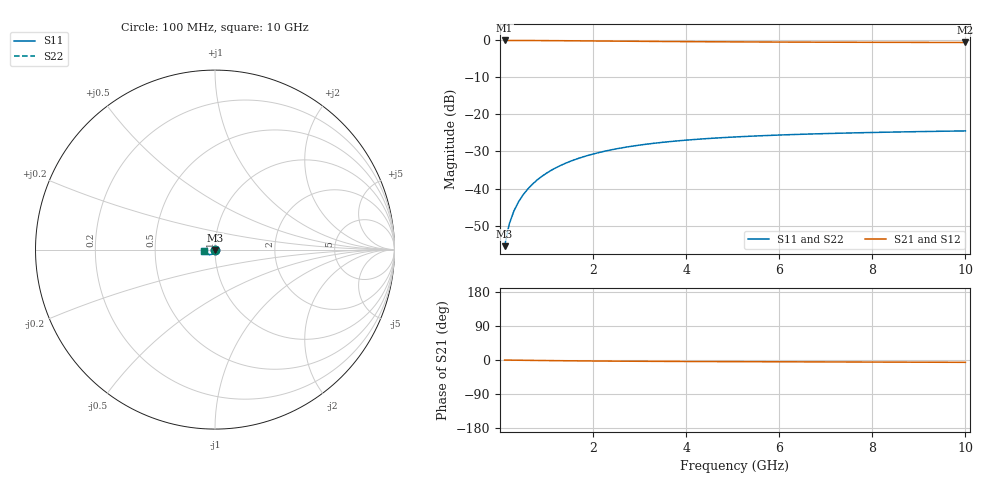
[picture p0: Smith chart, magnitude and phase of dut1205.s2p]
! Touchstone file exported from HFSS 2024.1.0
!  File:  C:/UserFiles/LocalFiles/RDL_TSV_Batchsim/temp_TSV1_1205_1780247844.aedt
!  Generated:  01:23:14 AM Jun  1, 2026
!  Design:  TSV1
!  Project:  temp_TSV1_1205_1780247844
!  Setup:  Setup1
!  Solution:  Sweep
! Variables:
!  dtsv = 11.12um
!  hbump = 3um
!  htsv = 98.03um
!  lrdl = 252.1521522um
!  p = 40
!  p1 = 49.58um
!  t = 500um
!  trdl = 3um
!  wrdl = 24.89489489um
# GHz S MA R 50.000000
! Terminal data exported
! Port[1] = TSV22_T1
! Port[2] = TSV22_T2
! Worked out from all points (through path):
!   100 points, 100 MHz to 10 GHz, reference 50 ohm
!   highest |S21| = 0.00 dB at 100 MHz (marker M1); lowest = -0.5 dB at 10 GHz (marker M2)
!   lowest |S11| = -55.6 dB at 100 MHz (marker M3), VSWR 1.00, Z = 50 - j0.166 ohm
!   |S11| at or under -10 dB: start of sweep to end of sweep
!   |S22| runs from -55.6 to -24.4 dB; largest |S21 - S12| = 9.3e-15
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0.1  0.001664 -87.1  0.9998 -0.2  0.9998 -0.2  0.001664 -87.1
! Gamma 0 0 0 0
! Port Impedance 50 0 50 0
0.2  0.003319 -91.0  0.9996 -0.3  0.9996 -0.3  0.003319 -91.0
0.3  0.004974 -93.4  0.9994 -0.5  0.9994 -0.5  0.004974 -93.4
0.4  0.006622 -95.5  0.999 -0.6  0.999 -0.6  0.006622 -95.5
0.5  0.008259 -97.5  0.9985 -0.8  0.9985 -0.8  0.008259 -97.5
0.6  0.009878 -99.3  0.998 -0.9  0.998 -0.9  0.009878 -99.3
0.7  0.01148 -101.1  0.9974 -1.1  0.9974 -1.1  0.01148 -101.1
0.8  0.01305 -102.9  0.9967 -1.2  0.9967 -1.2  0.01305 -102.9
0.9  0.0146 -104.6  0.9959 -1.3  0.9959 -1.3  0.0146 -104.6
1.1  0.01759 -108.0  0.9942 -1.6  0.9942 -1.6  0.01759 -108.0
1.4  0.02182 -112.8  0.9912 -2.0  0.9912 -2.0  0.02182 -112.8
1.6  0.02444 -115.9  0.9891 -2.2  0.9891 -2.2  0.02444 -115.9
1.8  0.02691 -118.8  0.9869 -2.4  0.9869 -2.4  0.02691 -118.8
2.1  0.03032 -122.9  0.9834 -2.7  0.9834 -2.7  0.03032 -122.9
2.5  0.03433 -128.0  0.9789 -3.0  0.9789 -3.0  0.03433 -128.0
2.9  0.03779 -132.6  0.9745 -3.3  0.9745 -3.3  0.03779 -132.6
3.4  0.04144 -137.8  0.9695 -3.6  0.9695 -3.6  0.04144 -137.8
4.2  0.04603 -144.8  0.9625 -4.0  0.9625 -4.0  0.04603 -144.8
5.1  0.04987 -151.5  0.9562 -4.4  0.9562 -4.4  0.04987 -151.5
6.7  0.05454 -160.8  0.9482 -5.0  0.9482 -5.0  0.05454 -160.8
8.4  0.05779 -168.6  0.9426 -5.6  0.9426 -5.6  0.05779 -168.6
10  0.05998 -174.6  0.939 -6.2  0.939 -6.2  0.05999 -174.6
